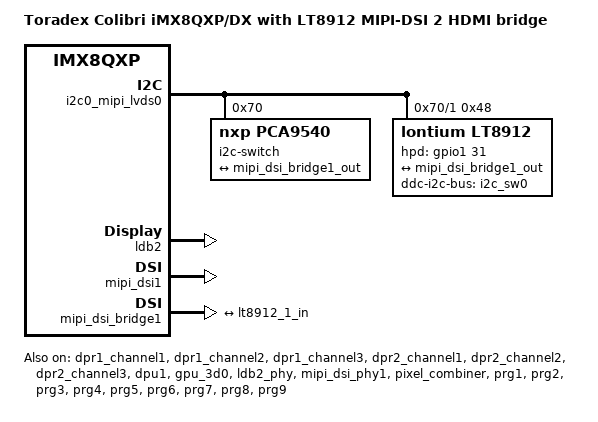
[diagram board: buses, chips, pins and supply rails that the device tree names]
// SPDX-License-Identifier: GPL-2.0+ OR X11
/*
 * Copyright 2018-2019 Toradex
 */

/dts-v1/;

#include "fsl-imx8qxp-colibri.dtsi"
#include "fsl-imx8qxp-colibri-eval-v3.dtsi"

/ {
	model = "Toradex Colibri iMX8QXP/DX with LT8912 MIPI-DSI 2 HDMI bridge";
	compatible = "toradex,colibri-imx8qxp-dsihdmi-eval-v3", "toradex,colibri-imx8qxp", "fsl,imx8qxp";

};

/* Colibri Parallel RGB */
&adma_lcdif {
	status = "disabled";
};

&backlight {
	status = "disabled";
};

/* Display Prefetch Resolve, (Tiling) */
&dpr1_channel1 {
	status = "okay";
};

&dpr1_channel2 {
	status = "okay";
};

&dpr1_channel3 {
	status = "okay";
};

&dpr2_channel1 {
	status = "okay";
};

&dpr2_channel2 {
	status = "okay";
};

&dpr2_channel3 {
	status = "okay";
};

&dpu1 {
	status = "okay";
};

&gpu_3d0 {
	status = "okay";
};

/* DSI/LVDS port 0 */
&i2c0_mipi_lvds0 {
	status = "okay";

	/* DSI to HDMI Adapter V1.1A */
	i2c-switch@70 {
		compatible = "nxp,pca9540";
		#address-cells = <1>;
		#size-cells = <0>;
		reg = <0x70>;
		i2c-mux-idle-disconnect;

		i2c_sw0: i2c-sw@0 {
			#address-cells = <1>;
			#size-cells = <0>;
			reg = <0>;

			/* DDC/EDID */
		};

		i2c-sw@1 {
			#address-cells = <1>;
			#size-cells = <0>;
			reg = <1>;

			lt8912@48 {
				compatible = "lontium,lt8912";
				ddc-i2c-bus = <&i2c_sw0>;
				hpd-gpios = <&gpio1 31 GPIO_ACTIVE_HIGH>;
				pinctrl-names = "default";
				pinctrl-0 = <&pinctrl_gpio_hpd>;
				reg = <0x48>;

				port {
					lt8912_1_in: endpoint {
						remote-endpoint = <&mipi_dsi_bridge1_out>;
					};
				};
			};
		};
	};
};

&iomuxc {
	pinctrl-names = "default";

	colibri-imx8qxp {
		/* DSI/LVDS Hot Plug Detect on FFC (X2) */
		pinctrl_gpio_hpd: gpio-hpd {
			fsl,pins = <
				SC_P_MIPI_DSI1_GPIO0_00_LSIO_GPIO1_IO31		0x20		/* SODIMM 138 */
			>;
		};
	};
};

&ldb1_phy {
	status = "disabled";
};

&ldb1 {
	status = "disabled";

	lvds-channel@0 {
		fsl,data-mapping = "jeida";
		fsl,data-width = <24>;
		status = "disabled";
	};
};

&ldb2 {
	status = "okay";
};

&ldb2_phy {
	status = "okay";
};

&mipi_dsi_phy1 {
	status = "okay";
};

&mipi_dsi1 {
	status = "okay";
};

&mipi_dsi_bridge1 {
	status = "okay";

	port@1 {
		mipi_dsi_bridge1_out: endpoint {
			remote-endpoint = <&lt8912_1_in>;
		};
	};
};

&pixel_combiner {
	status = "okay";
};

&prg1 {
	status = "okay";
};

&prg2 {
	status = "okay";
};

&prg3 {
	status = "okay";
};

&prg4 {
	status = "okay";
};

&prg5 {
	status = "okay";
};

&prg6 {
	status = "okay";
};

&prg7 {
	status = "okay";
};

&prg8 {
	status = "okay";
};

&prg9 {
	status = "okay";
};
